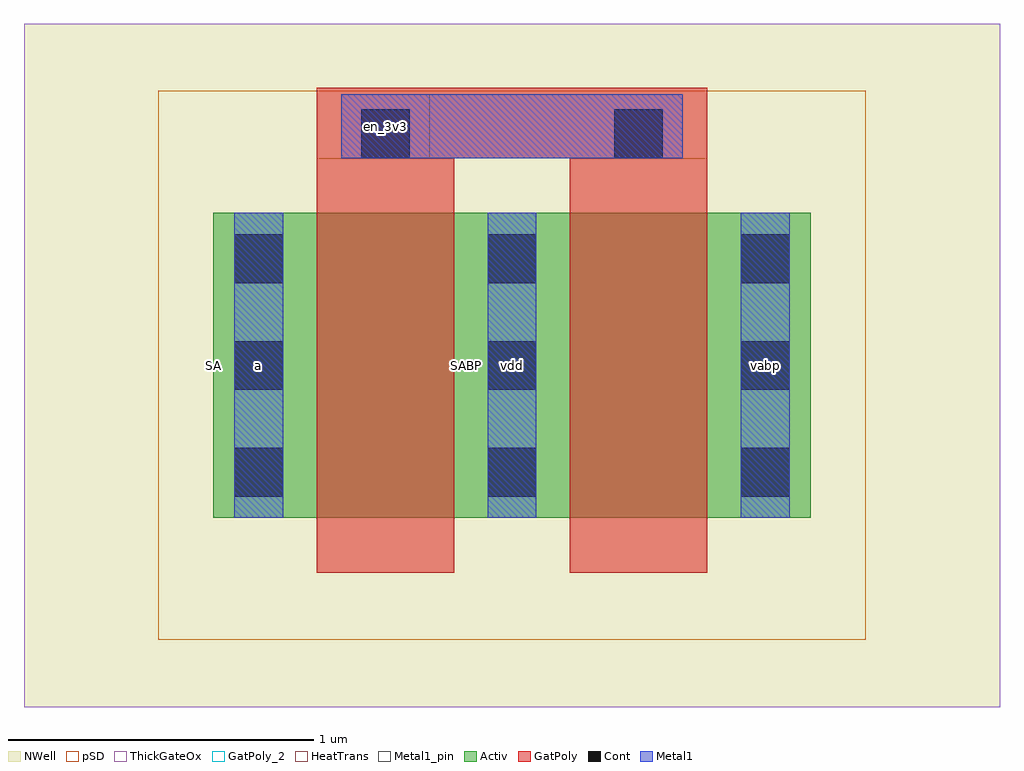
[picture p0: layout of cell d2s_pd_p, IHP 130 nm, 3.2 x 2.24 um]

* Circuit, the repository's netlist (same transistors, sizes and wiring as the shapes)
.SUBCKT d2s_pd_p a en_3v3 vabp vdd
* no tap in the cell (bulk on net nw, tied by the parent); vdd shared between SA and SABP
Md2s_pd_p_SA_0 a en_3v3 vdd nw sg13_hv_pmos w=1u l=0.45u ng=1 m=1
Md2s_pd_p_SABP_1 vabp en_3v3 vdd nw sg13_hv_pmos w=1u l=0.45u ng=1 m=1
.ENDS d2s_pd_p

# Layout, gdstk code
import gdstk
lib = gdstk.Library(unit=1e-6, precision=1e-09)
def R(c, l, rs):  # rectangles x0, y0, x1, y1
    for r in rs: c.add(gdstk.rectangle(r[:2], r[2:], *l))
def A(c, l, x, y, w, h, nx, ny, dx, dy):  # array of equal rectangles
    R(c, l, [(x+i*dx, y+j*dy, x+i*dx+w, y+j*dy+h) for i in range(nx) for j in range(ny)])
Activ = (1, 0)
GatPoly = (5, 0)
GatPoly_2 = (5, 2)
Cont = (6, 0)
Metal1 = (8, 0)
Metal1_pin = (8, 2)
pSD = (14, 0)
NWell = (31, 0)
ThickGateOx = (44, 0)
HeatTrans = (51, 0)

pmoshv_7 = lib.new_cell('pmosHV$7')
R(pmoshv_7, Activ, [(0,0,0.3,0.3), (0,0,1.13,1), (0.83,0,1.13,0.3)])
R(pmoshv_7, GatPoly, [(0.34,-0.18,0.79,1.18)])
R(pmoshv_7, GatPoly_2, [(0.34,-0.18,0.79,1.18)])
A(pmoshv_7, Cont, 0.07, 0.07, 0.16, 0.16, 1, 3, 0, 0.35)
A(pmoshv_7, Cont, 0.9, 0.07, 0.16, 0.16, 1, 3, 0, 0.35)
R(pmoshv_7, Metal1, [(0.07,0,0.23,1), (0.9,0,1.06,1)])
R(pmoshv_7, Metal1_pin, [(0.07,0,0.23,1), (0.9,0,1.06,1)])
R(pmoshv_7, pSD, [(-0.18,-0.4,1.31,1.4)])
R(pmoshv_7, NWell, [(-0.62,-0.62,1.75,1.62)])
R(pmoshv_7, ThickGateOx, [(-0.62,-0.62,1.75,1.62)])
R(pmoshv_7, HeatTrans, [(0.34,-0.18,0.79,1.18)])
pmoshv_7.add(gdstk.Label('pmosHV', (0.565,0.5), layer=63, texttype=0))
pmoshv_7.add(gdstk.Label('pmos', (0.565,0.5), layer=51, texttype=0))

d2s_pd_p = lib.new_cell('d2s_pd_p')
R(d2s_pd_p, GatPoly, [(0.34,1.18,1.62,1.41)])
R(d2s_pd_p, Cont, [(0.485,1.18,0.645,1.34), (1.315,1.18,1.475,1.34)])
R(d2s_pd_p, Metal1, [(0.42,1.18,1.54,1.39)])
A(d2s_pd_p, Metal1_pin, 0.07, 0.25, 0.16, 0.5, 3, 1, 0.83, 0)
R(d2s_pd_p, Metal1_pin, [(0.42,1.18,0.71,1.39)])
r = gdstk.Reference(pmoshv_7, (0,0)); r.repetition = gdstk.Repetition(2, 1, v1=(0.83,0), v2=(0,0)); d2s_pd_p.add(r)
d2s_pd_p.add(gdstk.Label('SA', (0,0.5), layer=63, texttype=0))
d2s_pd_p.add(gdstk.Label('SABP', (0.83,0.5), layer=63, texttype=0))
d2s_pd_p.add(gdstk.Label('en_3v3', (0.565,1.285), layer=8, texttype=25))
d2s_pd_p.add(gdstk.Label('a', (0.15,0.5), layer=8, texttype=25))
d2s_pd_p.add(gdstk.Label('vdd', (0.98,0.5), layer=8, texttype=25))
d2s_pd_p.add(gdstk.Label('vabp', (1.81,0.5), layer=8, texttype=25))

lib.write_gds('d2s_pd_p.gds')
